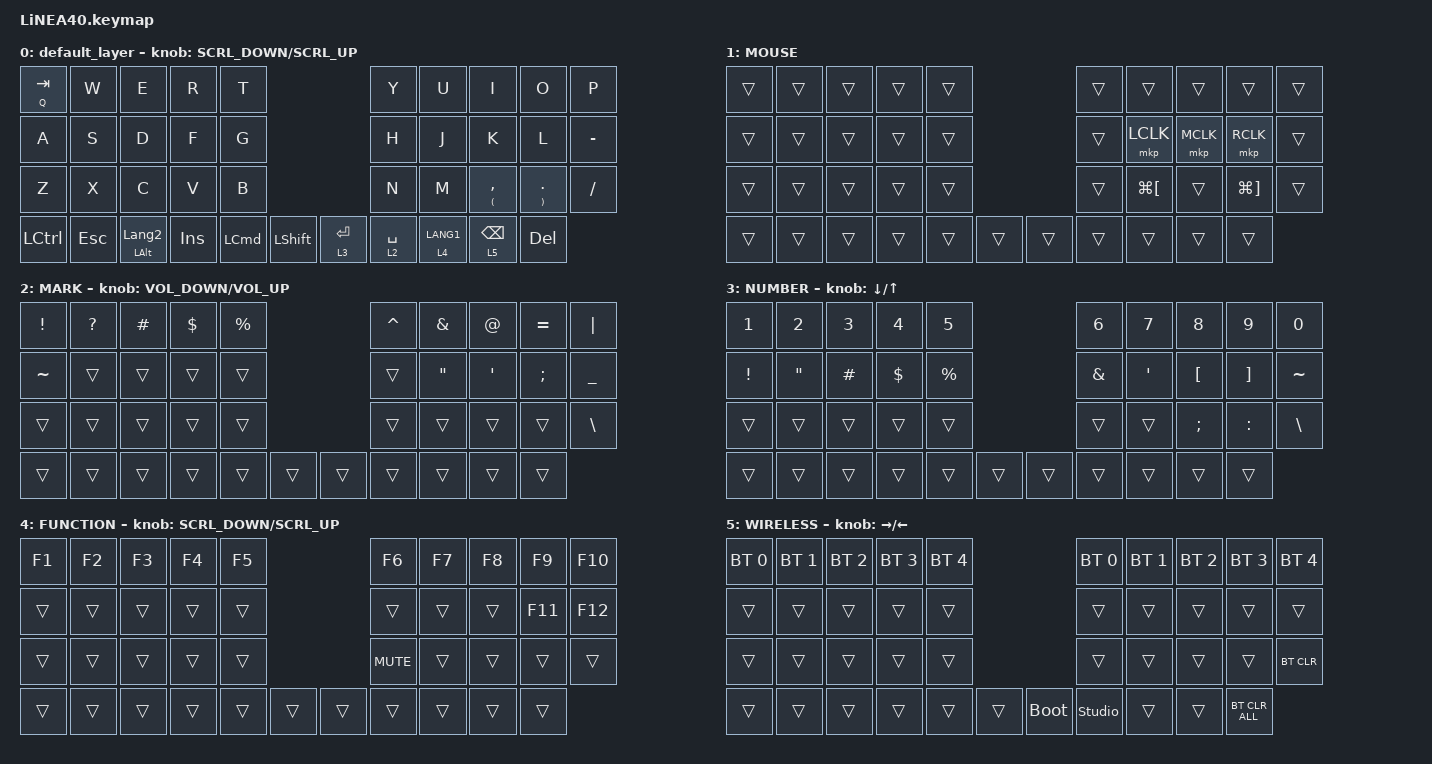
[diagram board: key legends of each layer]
#define ZMK_POINTING_DEFAULT_SCRL_VAL 150

#include <dt-bindings/zmk/input_transform.h>
#include <input/processors.dtsi>
#include <zephyr/dt-bindings/input/input-event-codes.h>
#include <behaviors.dtsi>
#include <dt-bindings/zmk/bt.h>
#include <dt-bindings/zmk/keys.h>
#include <dt-bindings/zmk/pointing.h>

#define MOUSE 1
#define MARK 2
#define CURSOR 3
#define FUNCTION 4
#define SCROLL 5
#define WIRELESS 6

//mouse cursol

&mmv {
    delay-ms = <20>;
    trigger-period-ms = <5>;
    time-to-max-speed-ms = <100>;
    acceleration-exponent = <2>;
};

//mouse scroll

&msc {
    delay-ms = <3>;
    trigger-period-ms = <3>;
    time-to-max-speed-ms = <100>;
    acceleration-exponent = <0>;
};

/ {
    input_processors {
        zip_wheel_scaler: zip_wheel_scaler {
            compatible = "zmk,input-processor-scaler";
            #input-processor-cells = <2>;
            type = <INPUT_EV_REL>;
            codes = <INPUT_REL_WHEEL>;
            track-remainders;
        };
    };
};

&msc_input_listener {
    speed_up {
        layers = <FUNCTION>;
        input-processors = <&zip_wheel_scaler 3 1>; //スクロールを3倍速にする
    };
};

&trackball_listener {
    scroller {
        layers = <SCROLL>;
        input-processors =
            <&zip_xy_transform INPUT_TRANSFORM_Y_INVERT>,
            //スクロール方向を逆転,,,,,,,,,,,,,,,,,,,,
            <&zip_xy_to_scroll_mapper>;
    };
};

/ {
    combos {
        compatible = "zmk,combos";

        ZenkakuHankaku {
            bindings = <&kp GRAVE>;
            key-positions = <11 12>;
        };

        lang1 {
            bindings = <&kp F7>;
            key-positions = <5 6>;
        };

        lang2 {
            bindings = <&kp F10>;
            key-positions = <15 16>;
        };

        rightPAR {
            bindings = <&kp RIGHT_PARENTHESIS>;
            key-positions = <26 25>;
        };

        leftPAR {
            bindings = <&kp LEFT_PARENTHESIS>;
            key-positions = <23 24>;
        };

        rightBRA {
            bindings = <&kp RIGHT_BRACKET>;
            key-positions = <16 17>;
        };

        leftBRA {
            bindings = <&kp LEFT_BRACKET>;
            key-positions = <13 12>;
        };
    };

    behaviors {
        re_kp: sensor_rotate_kp {
            compatible = "zmk,behavior-sensor-rotate-var";
            #sensor-binding-cells = <2>;
            bindings = <&kp>, <&kp>;
        };

        mouse_scrl: mouse_wheel_scrl {
            compatible = "zmk,behavior-sensor-rotate-var";
            #sensor-binding-cells = <2>;
            bindings = <&msc>, <&msc>;

            tap-ms = <20>;
        };
    };

    keymap {
        compatible = "zmk,keymap";

        default_layer {
            bindings = <
&mt Q TAB         &kp W       &kp E                    &kp R    &kp T                                            &kp Y        &kp U  &kp I                       &kp O                      &kp P
&kp A             &kp S       &kp D                    &kp F    &kp G                                            &kp H        &kp J  &kp K                       &kp L                      &kp MINUS
&kp Z             &kp X       &kp C                    &kp V    &kp B                                            &kp N        &kp M  &mt LEFT_PARENTHESIS COMMA  &mt RIGHT_PARENTHESIS DOT  &kp SLASH
&kp LEFT_CONTROL  &kp ESCAPE  &mt LEFT_ALT LANGUAGE_2  &kp INS  &kp LEFT_COMMAND  &kp LEFT_SHIFT    &lt 3 ENTER  &lt 2 SPACE         &lt 4 LANG1                 &lt 5 BACKSPACE            &kp DELETE
            >;

            sensor-bindings = <&mouse_scrl SCRL_DOWN SCRL_UP>;
        };

        MOUSE {
            bindings = <
&trans  &trans  &trans  &trans  &trans                    &trans  &trans                &trans     &trans                 &trans
&trans  &trans  &trans  &trans  &trans                    &trans  &mkp LCLK             &mkp MCLK  &mkp RCLK              &trans
&trans  &trans  &trans  &trans  &trans                    &trans  &kp LG(LEFT_BRACKET)  &trans     &kp LG(RIGHT_BRACKET)  &trans
&trans  &trans  &trans  &trans  &trans  &trans    &trans  &trans                        &trans     &trans                 &trans
            >;
        };

        MARK {
            bindings = <
&kp EXCLAMATION  &kp QUESTION  &kp HASH  &kp DOLLAR  &kp PERCENT                    &kp CARET  &kp AMPERSAND      &kp AT_SIGN  &kp EQUAL  &kp PIPE
&kp TILDE        &trans        &trans    &trans      &trans                         &trans     &kp DOUBLE_QUOTES  &kp APOS     &kp SEMI   &kp UNDERSCORE
&trans           &trans        &trans    &trans      &trans                         &trans     &trans             &trans       &trans     &kp BACKSLASH
&trans           &trans        &trans    &trans      &trans       &trans    &trans  &trans                        &trans       &trans     &trans
            >;

            sensor-bindings = <&re_kp C_VOLUME_DOWN C_VOLUME_UP>;
        };

        NUMBER {
            bindings = <
&kp NUMBER_1     &kp NUMBER_2       &kp NUMBER_3  &kp NUMBER_4  &kp NUMBER_5                    &kp NUMBER_6   &kp NUMBER_7  &kp NUMBER_8      &kp NUMBER_9       &kp NUMBER_0
&kp EXCLAMATION  &kp DOUBLE_QUOTES  &kp HASH      &kp DOLLAR    &kp PERCENT                     &kp AMPERSAND  &kp SQT       &kp LEFT_BRACKET  &kp RIGHT_BRACKET  &kp TILDE
&trans           &trans             &trans        &trans        &trans                          &trans         &trans        &kp SEMICOLON     &kp COLON          &kp BACKSLASH
&trans           &trans             &trans        &trans        &trans        &trans    &trans  &trans                       &trans            &trans             &trans
            >;

            sensor-bindings = <&inc_dec_kp DOWN_ARROW UP_ARROW>;
        };

        FUNCTION {
            bindings = <
&kp F1  &kp F2  &kp F3  &kp F4  &kp F5                    &kp F6      &kp F7  &kp F8  &kp F9   &kp F10
&trans  &trans  &trans  &trans  &trans                    &trans      &trans  &trans  &kp F11  &kp F12
&trans  &trans  &trans  &trans  &trans                    &kp C_MUTE  &trans  &trans  &trans   &trans
&trans  &trans  &trans  &trans  &trans  &trans    &trans  &trans              &trans  &trans   &trans
            >;

            sensor-bindings = <&mouse_scrl SCRL_DOWN SCRL_UP>;
        };

        WIRELESS {
            bindings = <
&bt BT_SEL 0  &bt BT_SEL 1  &bt BT_SEL 2  &bt BT_SEL 3  &bt BT_SEL 4                         &bt BT_SEL 0    &bt BT_SEL 1  &bt BT_SEL 2  &bt BT_SEL 3  &bt BT_SEL 4
&trans        &trans        &trans        &trans        &trans                               &trans          &trans        &trans        &trans        &trans
&trans        &trans        &trans        &trans        &trans                               &trans          &trans        &trans        &trans        &bt BT_CLR
&trans        &trans        &trans        &trans        &trans        &trans    &bootloader  &studio_unlock                &trans        &trans        &bt BT_CLR_ALL
            >;

            sensor-bindings = <&inc_dec_kp RIGHT_ARROW LEFT_ARROW>;
        };
    };
};
